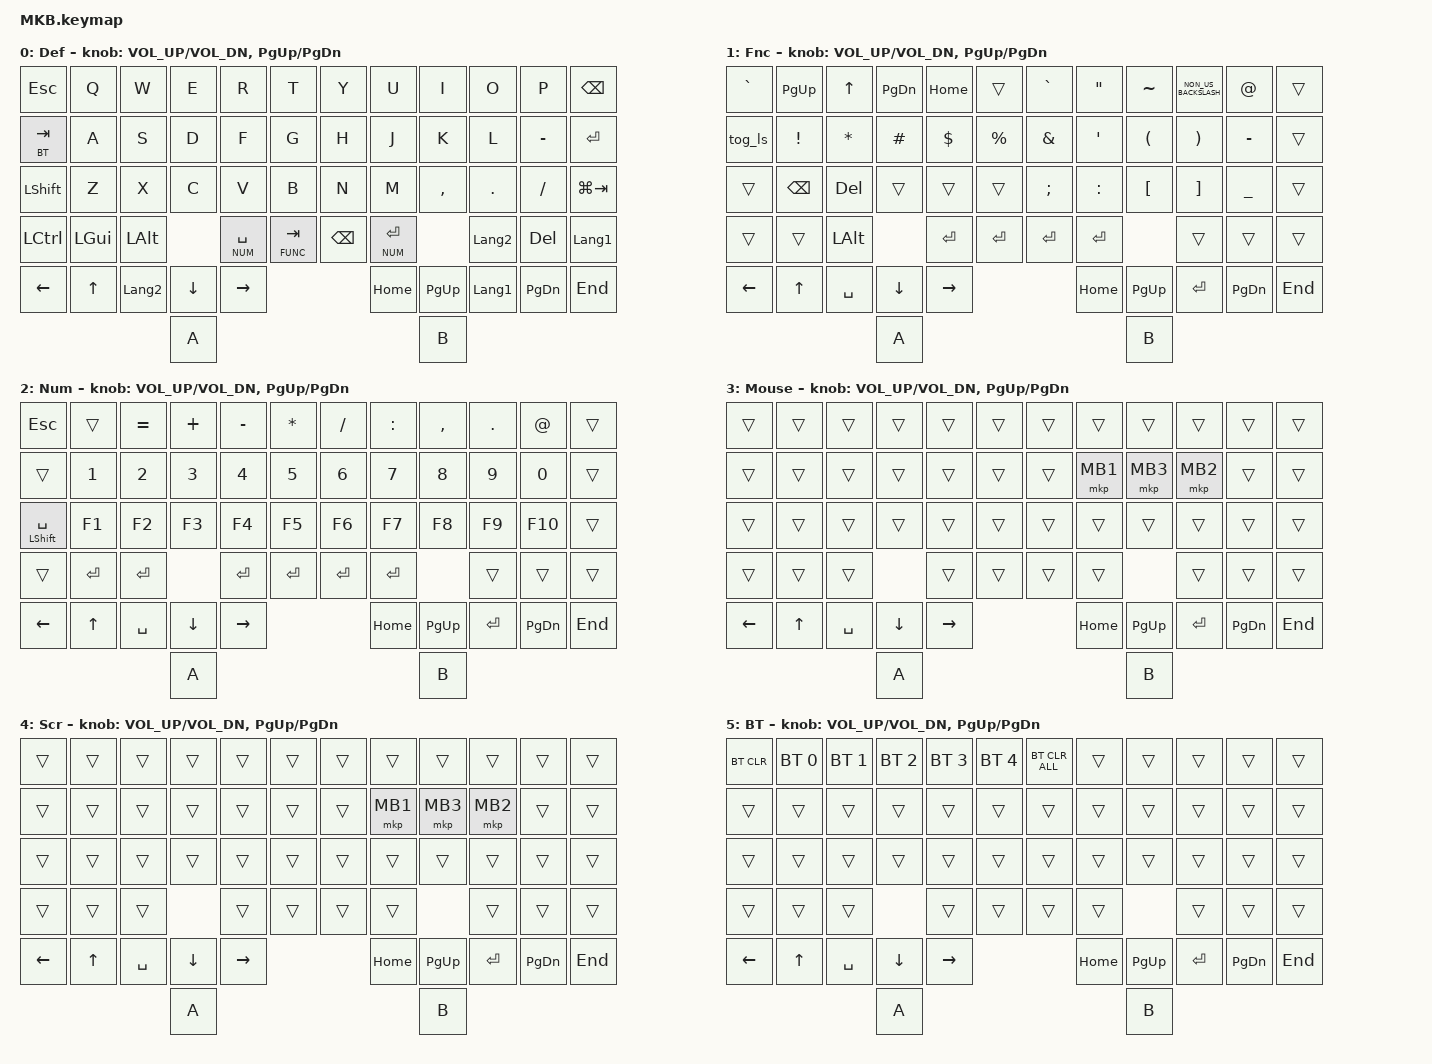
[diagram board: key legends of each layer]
// #include <layout_shift.dtsi>

#include <layout_shift_kp_override.dtsi>
#include <behaviors.dtsi>
#include <dt-bindings/zmk/bt.h>
#include <dt-bindings/zmk/keys.h>
#include <dt-bindings/zmk/pointing.h>

#define DEF 0
#define FUNC 1
#define NUM 2
#define MOUSE 3
#define SCROLL 4
#define BT 5

&mt {
    flavor = "balanced";
    tapping-term-ms = <280>;
    quick-tap-ms = <175>;
    require-prior-idle-ms = <150>;
};

/ {
    keymap {
        compatible = "zmk,keymap";

        default_layer {
            label = "Def";
            bindings = <
&kp ESCAPE  &kp Q     &kp W           &kp E     &kp R          &kp T             &kp Y          &kp U          &kp I      &kp O           &kp P       &kp BACKSPACE
&lt BT TAB  &kp A     &kp S           &kp D     &kp F          &kp G             &kp H          &kp J          &kp K      &kp L           &kp MINUS   &kp ENTER
&kp LSHFT   &kp Z     &kp X           &kp C     &kp V          &kp B             &kp N          &kp M          &kp COMMA  &kp DOT         &kp SLASH   &kp LG(TAB)
&kp LCTRL   &kp LGUI  &kp LALT                  &lt NUM SPACE  &lt FUNC TAB      &kp BACKSPACE  &lt NUM ENTER             &kp LANGUAGE_2  &kp DELETE  &kp LANGUAGE_1
&kp LEFT    &kp UP    &kp LANGUAGE_2  &kp DOWN  &kp RIGHT                                       &kp HOME       &kp PG_UP  &kp LANGUAGE_1  &kp PG_DN   &kp END
                                      &kp A                                                                    &kp B
            >;

            sensor-bindings = <&inc_dec_kp C_VOL_UP C_VOL_DN &inc_dec_kp PG_UP PG_DN>;
        };

        function_layer {
            label = "Fnc";
            bindings = <
&kp GRAVE  &kp PG_UP        &kp UP        &kp PG_DN  &kp HOME    &trans           &kp GRAVE      &kp DOUBLE_QUOTES  &kp TILDE             &kp NON_US_BACKSLASH   &kp AT_SIGN     &trans
&tog_ls    &kp EXCLAMATION  &kp ASTERISK  &kp HASH   &kp DOLLAR  &kp PERCENT      &kp AMPERSAND  &kp SQT            &kp LEFT_PARENTHESIS  &kp RIGHT_PARENTHESIS  &kp MINUS       &trans
&trans     &kp BKSP         &kp DEL       &trans     &trans      &trans           &kp SEMICOLON  &kp COLON          &kp LEFT_BRACKET      &kp RIGHT_BRACKET      &kp UNDERSCORE  &trans
&trans     &trans           &kp LALT                 &kp ENTER   &kp ENTER        &kp ENTER      &kp ENTER                                &trans                 &trans          &trans
&kp LEFT   &kp UP           &kp SPACE     &kp DOWN   &kp RIGHT                                   &kp HOME           &kp PG_UP             &kp ENTER              &kp PG_DN       &kp END
                                          &kp A                                                                     &kp B
            >;

            sensor-bindings = <&inc_dec_kp C_VOL_UP C_VOL_DN &inc_dec_kp PG_UP PG_DN>;
        };

        num_layer {
            label = "Num";
            bindings = <
&kp ESCAPE       &trans        &kp EQUAL     &kp PLUS      &kp MINUS     &kp ASTERISK      &kp SLASH     &kp COLON     &kp COMMA     &kp PERIOD    &kp AT_SIGN   &trans
&trans           &kp NUMBER_1  &kp NUMBER_2  &kp NUMBER_3  &kp NUMBER_4  &kp NUMBER_5      &kp NUMBER_6  &kp NUMBER_7  &kp NUMBER_8  &kp NUMBER_9  &kp NUMBER_0  &trans
&mt LSHFT SPACE  &kp F1        &kp F2        &kp F3        &kp F4        &kp F5            &kp F6        &kp F7        &kp F8        &kp F9        &kp F10       &trans
&trans           &kp ENTER     &kp ENTER                   &kp ENTER     &kp ENTER         &kp ENTER     &kp ENTER                   &trans        &trans        &trans
&kp LEFT         &kp UP        &kp SPACE     &kp DOWN      &kp RIGHT                                     &kp HOME      &kp PG_UP     &kp ENTER     &kp PG_DN     &kp END
                                             &kp A                                                                     &kp B
            >;

            sensor-bindings = <&inc_dec_kp C_VOL_UP C_VOL_DN &inc_dec_kp PG_UP PG_DN>;
        };

        mouse_layer {
            label = "Mouse";
            bindings = <
&trans    &trans  &trans     &trans    &trans     &trans      &trans  &trans    &trans     &trans     &trans     &trans
&trans    &trans  &trans     &trans    &trans     &trans      &trans  &mkp MB1  &mkp MB3   &mkp MB2   &trans     &trans
&trans    &trans  &trans     &trans    &trans     &trans      &trans  &trans    &trans     &trans     &trans     &trans
&trans    &trans  &trans               &trans     &trans      &trans  &trans               &trans     &trans     &trans
&kp LEFT  &kp UP  &kp SPACE  &kp DOWN  &kp RIGHT                      &kp HOME  &kp PG_UP  &kp ENTER  &kp PG_DN  &kp END
                             &kp A                                              &kp B
            >;

            sensor-bindings = <&inc_dec_kp C_VOL_UP C_VOL_DN &inc_dec_kp PG_UP PG_DN>;
        };

        scroll_layer {
            label = "Scr";
            bindings = <
&trans    &trans  &trans     &trans    &trans     &trans      &trans  &trans    &trans     &trans     &trans     &trans
&trans    &trans  &trans     &trans    &trans     &trans      &trans  &mkp MB1  &mkp MB3   &mkp MB2   &trans     &trans
&trans    &trans  &trans     &trans    &trans     &trans      &trans  &trans    &trans     &trans     &trans     &trans
&trans    &trans  &trans               &trans     &trans      &trans  &trans               &trans     &trans     &trans
&kp LEFT  &kp UP  &kp SPACE  &kp DOWN  &kp RIGHT                      &kp HOME  &kp PG_UP  &kp ENTER  &kp PG_DN  &kp END
                             &kp A                                              &kp B
            >;

            sensor-bindings = <&inc_dec_kp C_VOL_UP C_VOL_DN &inc_dec_kp PG_UP PG_DN>;
        };

        bt_layer {
            label = "BT";
            bindings = <
&bt BT_CLR  &bt BT_SEL 0  &bt BT_SEL 1  &bt BT_SEL 2  &bt BT_SEL 3  &bt BT_SEL 4      &bt BT_CLR_ALL  &trans    &trans     &trans     &trans     &trans
&trans      &trans        &trans        &trans        &trans        &trans            &trans          &trans    &trans     &trans     &trans     &trans
&trans      &trans        &trans        &trans        &trans        &trans            &trans          &trans    &trans     &trans     &trans     &trans
&trans      &trans        &trans                      &trans        &trans            &trans          &trans               &trans     &trans     &trans
&kp LEFT    &kp UP        &kp SPACE     &kp DOWN      &kp RIGHT                                       &kp HOME  &kp PG_UP  &kp ENTER  &kp PG_DN  &kp END
                                        &kp A                                                                   &kp B
            >;

            sensor-bindings = <&inc_dec_kp C_VOL_UP C_VOL_DN &inc_dec_kp PG_UP PG_DN>;
        };
    };
};
